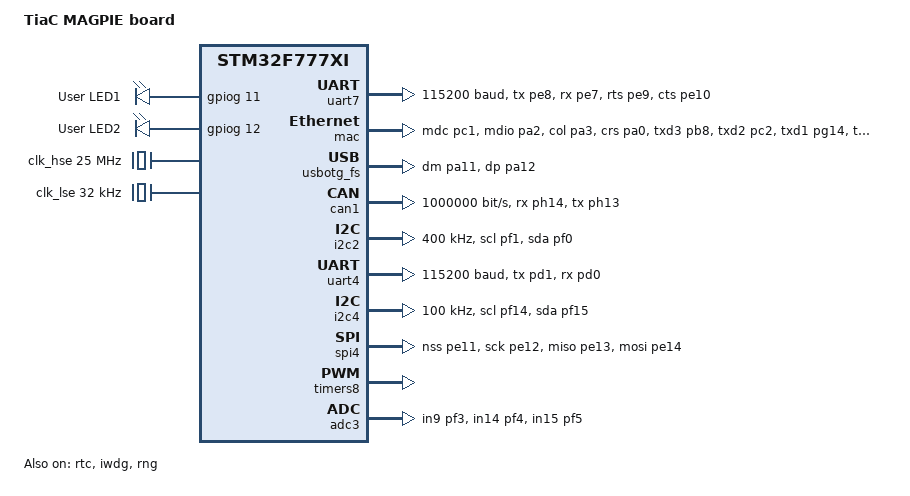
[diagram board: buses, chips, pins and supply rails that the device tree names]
/*
 * Copyright (c) 2021-2022 TiaC Systems
 * Copyright (c) 2021 Li-Pro.Net
 * SPDX-License-Identifier: Apache-2.0
 */

/dts-v1/;
#include <st/f7/stm32f777Xi.dtsi>
#include <st/f7/stm32f777nihx-pinctrl.dtsi>

/ {
	model = "TiaC MAGPIE board";
	compatible = "tiac,magpie";

	chosen {
		zephyr,console = &uart7;
		zephyr,shell-uart = &uart7;
		zephyr,usb-device = &usbotg_fs;
		zephyr,canbus = &can1;
		zephyr,sram = &sram0;
		zephyr,flash = &flash0;
		zephyr,code-partition = &slot0_partition;
		zephyr,dtcm = &dtcm;
	}; // chosen

	// These aliases are provided for compatibility
	// with samples and tests.
	aliases {
		led0 = &usr_led_1;
		led1 = &usr_led_2;
	}; // aliases

	leds {
		compatible = "gpio-leds";
		usr_led_1: usr_led_1 {
			gpios = <&gpiog 11 GPIO_ACTIVE_HIGH>;	/* USER_LED1 */
			label = "User LED1";
		}; // usr_led_1
		usr_led_2: usr_led_2 {
			gpios = <&gpiog 12 GPIO_ACTIVE_HIGH>;	/* USER_LED2 */
			label = "User LED2";
		}; // usr_led_2
	}; // leds
};

&clk_hse {
	status = "okay";
	clock-frequency = <DT_FREQ_M(25)>;
	hse-bypass;
}; // clk_hse

&pll {
	status = "okay";
	clocks = <&clk_hse>;
	div-m = <25>;
	mul-n = <432>;
	div-p = <2>;
	div-q = <9>;
}; // pll

&rcc {
	status = "okay";
	clocks = <&pll>;
	ahb-prescaler = <1>;
	apb1-prescaler = <4>;
	apb2-prescaler = <2>;
	clock-frequency = <DT_FREQ_M(216)>;
}; // rcc

&clk_lse {
	status = "okay";
	clock-frequency = <DT_FREQ_K(32)>;
	lse-bypass;
}; // clk_lse

&rtc {
	status = "okay";
	clocks = <&rcc STM32_CLOCK_BUS_APB1 0x10000000>,
		 <&rcc STM32_SRC_LSE RTC_SEL(1)>;
}; // rtc

&iwdg {
	status = "okay";
}; // iwdg

&rng {
	status = "okay";
}; // rng

&uart7 {
	status = "okay";		/* default system uart console */
	pinctrl-names = "default";
	pinctrl-0 = <&uart7_tx_pe8	/* UART_TXD7 */
		     &uart7_rx_pe7	/* UART_RXD7 */
		     &uart7_rts_pe9	/* UART_RTS7 */
		     &uart7_cts_pe10>;	/* UART_CTS7 */
	current-speed = <115200>;
	hw-flow-control;
}; // uart7

&mac {
	status = "okay";
	pinctrl-names = "default";
	pinctrl-0 = <&eth_mdc_pc1	/* MII_MDC */
		     &eth_mdio_pa2	/* MII_MDIO */
		     &eth_col_pa3	/* MII_COL */
		     &eth_crs_pa0	/* MII_CRS */
		     &eth_txd3_pb8	/* MII_TXD3 */
		     &eth_txd2_pc2	/* MII_TXD2 */
		     &eth_txd1_pg14	/* MII_TXD1 */
		     &eth_txd0_pg13	/* MII_TXD0 */
		     &eth_tx_en_pb11	/* MII_TXEN */
		     &eth_tx_clk_pc3	/* MII_TXC */
		     &eth_rx_er_pi10	/* MII_RXER */
		     &eth_rxd3_pb1	/* MII_RXD3 */
		     &eth_rxd2_pb0	/* MII_RXD2 */
		     &eth_rxd1_pc5	/* MII_RXD1 */
		     &eth_rxd0_pc4	/* MII_RXD0 */
		     &eth_rx_dv_pa7	/* MII_RXDV */
		     &eth_rx_clk_pa1>;	/* MII_RXC */
}; // mac

&usbotg_fs {
	status = "okay";
	pinctrl-names = "default";
	pinctrl-0 = <&usb_otg_fs_dm_pa11	/* USB_DEV_DP */
		     &usb_otg_fs_dp_pa12>;	/* USB_DEV_DM */
}; // usbotg_fs

&can1 {
	status = "okay";		/* default primary can */
	pinctrl-names = "default";
	pinctrl-0 = <&can1_rx_ph14	/* CAN_RX1 */
		     &can1_tx_ph13>;	/* CAN_TX1 */
	bus-speed = <1000000>;
	sjw = <1>;
	prop-seg = <0>;
	phase-seg1 = <15>;
	phase-seg2 = <2>;
}; // can1

&can2 {
	status = "disabled";		/* optional second can */
	pinctrl-names = "default";
	pinctrl-0 = <&can2_rx_pb12	/* CAN_RX2 */
		     &can2_tx_pb13>;	/* CAN_TX2 */
	bus-speed = <1000000>;
	sjw = <1>;
	prop-seg = <0>;
	phase-seg1 = <15>;
	phase-seg2 = <2>;
}; // can2

&i2c2 {
	status = "okay";		/* default system i2c */
	pinctrl-names = "default";
	pinctrl-0 = <&i2c2_scl_pf1	/* SCL2 */
		     &i2c2_sda_pf0>;	/* SDA2 */
	clock-frequency = <I2C_BITRATE_FAST>;
}; // i2c2

&usart3 {
	status = "disabled";		/* optional second uart */
	pinctrl-names = "default";
	pinctrl-0 = <&usart3_tx_pc10	/* TMPH1_PC10_TXD3 */
		     &usart3_rx_pc11>;	/* TMPH1_PC11_RXD3 */
	current-speed = <115200>;
}; // usart3

&uart4 {
	status = "okay";		/* default primary uart */
	pinctrl-names = "default";
	pinctrl-0 = <&uart4_tx_pd1	/* TMPH1_PD1_TXD4 */
		     &uart4_rx_pd0>;	/* TMPH1_PD0_RXD4 */
	current-speed = <115200>;
}; // uart4

&uart5 {
	status = "disabled";		/* optional third uart */
	pinctrl-names = "default";
	pinctrl-0 = <&uart5_tx_pc12	/* TMPH1_PC12_TXD5 */
		     &uart5_rx_pd2>;	/* TMPH1_PD2_RXD5 */
	current-speed = <115200>;
}; // uart5

&uart8 {
	status = "disabled";		/* optional fourth uart */
	pinctrl-names = "default";
	pinctrl-0 = <&uart8_tx_pe1	/* TMPH4_PE1_TXD8 */
		     &uart8_rx_pe0	/* TMPH4_PE0_RXD8 */
		     &uart8_rts_pd15	/* TMPH2_PD15_RTS8 */
		     &uart8_cts_pd14>;	/* TMPH2_PD14_CTS8 */
	current-speed = <115200>;
}; // uart8

&i2c3 {
	status = "disabled";		/* optional second i2c */
	pinctrl-names = "default";
	pinctrl-0 = <&i2c3_scl_ph7	/* TMPH3_PH7_SCL3_MISO5 */
		     &i2c3_sda_ph8>;	/* TMPH3_PH8_SDA3 */
	clock-frequency = <I2C_BITRATE_STANDARD>;
}; // i2c3

&i2c4 {
	status = "okay";		/* default primary i2c */
	pinctrl-names = "default";
	pinctrl-0 = <&i2c4_scl_pf14	/* TMPH5_PF14_SCL4 */
		     &i2c4_sda_pf15>;	/* TMPH5_PF15_SDA4 */
	clock-frequency = <I2C_BITRATE_STANDARD>;
}; // i2c4

&spi4 {
	status = "okay";		/* default primary spi */
	pinctrl-names = "default";
	pinctrl-0 = <&spi4_nss_pe11	/* TMPH5_PE11_NSS4 */
		     &spi4_sck_pe12	/* TMPH5_PE12_SCK4 */
		     &spi4_miso_pe13	/* TMPH5_PE13_MISO4 */
		     &spi4_mosi_pe14>;	/* TMPH5_PE14_MOSI4 */
}; // spi4

&spi5 {
	status = "disabled";		/* optional second spi */
	pinctrl-names = "default";
	pinctrl-0 = <&spi5_nss_ph5	/* TMPH2_PH5_NSS5 */
		     &spi5_sck_ph6	/* TMPH3_PH6_SCK5 */
		     &spi5_miso_ph7	/* TMPH3_PH7_SCL3_MISO5 */
		     &spi5_mosi_pf11>;	/* TMPH5_PF11_MOSI5 */
}; // spi5

&timers8 {
	status = "okay";

	pwm8: pwm {
		status = "okay";
		pinctrl-names = "default";
		pinctrl-0 = <&tim8_ch1_pi5	/* TMPH4_PI5_PWM81 */
			     &tim8_ch2_pi6	/* TMPH4_PI6_PWM82 */
			     &tim8_ch3_pi7 	/* TMPH4_PI7_PWM83 */
			     &tim8_ch4_pi2>;	/* TMPH1_PI2_PWM84 */
	}; // pwm8
}; // timers8

&adc3 {
	status = "okay";
	pinctrl-names = "default";
	pinctrl-0 = <&adc3_in9_pf3	/* TMPH4_PF3_ADC39 */
		     &adc3_in14_pf4	/* TMPH2_PF4_ADC314 */
		     &adc3_in15_pf5>;	/* TMPH2_PF5_ADC315 */
}; // adc3

&flash0 {
	partitions {
		compatible = "fixed-partitions";
		#address-cells = <1>;
		#size-cells = <1>;

		/*
		 * The two sectors 0-1 (32+32 kbytes) are reserved for
		 * the bootloader.
		 */
		boot_partition: partition@0 {
			label = "mcuboot";
			reg = <0x0 0x00010000>;
			read-only;
		}; // boot_partition

		/*
		 * The flash starting at offset 0x10000 and ending at
		 * offset 0x1ffff is reserved for use by the application.
		 * This represents sectors 2-3 (32+32 kbytes)
		 */
		storage_partition: partition@10000 {
			label = "storage";
			reg = <0x00010000 0x00010000>;
		}; // storage_partition

		/*
		 * Sector 4 (128 kbytes) unallocated.
		 */

		/*
		 * Allocated 3 (256k x 3) sectors for image-0. Sectors 5-7.
		 */
		slot0_partition: partition@40000 {
			label = "image-0";
			reg = <0x00040000 0x000C0000>;
		}; // slot0_partition

		/*
		 * Allocated 3 (256k x 3) sectors for image-1. Sectors 8-10.
		 */
		slot1_partition: partition@100000 {
			label = "image-1";
			reg = <0x00100000 0x000C0000>;
		}; // slot1_partition

		/*
		 * Allocated 1 (256k) sector for image-scratch. Sector 11.
		 */
		scratch_partition: partition@1C0000 {
			label = "image-scratch";
			reg = <0x001C0000 0x00040000>;
		}; // scratch_partition
	}; // partitions
}; // flash0

#include "tiac_magpie_pin_header.dtsi"
